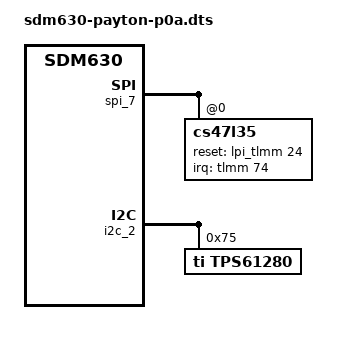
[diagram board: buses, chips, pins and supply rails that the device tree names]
/* Copyright (c) 2017, The Linux Foundation. All rights reserved.
 *
 * This program is free software; you can redistribute it and/or modify
 * it under the terms of the GNU General Public License version 2 and
 * only version 2 as published by the Free Software Foundation.
 *
 * This program is distributed in the hope that it will be useful,
 * but WITHOUT ANY WARRANTY; without even the implied warranty of
 * MERCHANTABILITY or FITNESS FOR A PARTICULAR PURPOSE.  See the
 * GNU General Public License for more details.
 */


/dts-v1/;

#include "sdm630.dtsi"
#include "sdm630-payton.dtsi"

/ {
	qcom,board-id = <0x41 0x80A0>;
};
/* workaround, GPIO2 used as codec interrupt pin in this revison, to be revised
 * in the next hardware version because LPI interrupt cannot receive by AP
 * the below audio related item should only be used in this p0a device tree
 */
&lpi_tlmm {
	lpi_marley_irq_default: marley_irq_default {
		config {
			pins = "gpio22";
			drive-strength = <2>;
			input-enable;
			bias-pull-up;
		};
	};

	lpi_marley_reset_default: marley_reset_default {
		config {
			pins = "gpio24";
			output-high;
			bias-pull-up;
			drive-strength = <2>;
		};
	};
};

&spi_7 {
	cs47l35: cs47l35@0 {
		interrupt-parent = <&tlmm>;
		interrupts = <74 0>;
		reset-gpios = <&lpi_tlmm 24 0>;
		pinctrl-0 = <&lpi_marley_irq_default &lpi_marley_reset_default>;

		cirrus,gpio-defaults = <
			0x00002000 0x0000f000 /* AIF3TXDAT / GPIO1  */
			0x00003003 0x00007000 /* IRQ1	   / GPIO2  */
			0x00000040 0x00000000 /* AIF3RXDAT / GPIO3  */
			0x00002000 0x0000f000 /* AIF3LRCLK / GPIO4  */
			0xffffffff 0xffffffff /* GPIO5 */
			0xffffffff 0xffffffff /* GPIO6 */
			0x00002000 0x0000f000 /* MIF1SDA   / GPIO7  */
			0x00002000 0x0000f000 /* AIF1RXDAT / GPIO8  */
			0x00002000 0x0000f000 /* AIF1BCLK  / GPIO9  */
			0x00002000 0x0000f000 /* AIF1TXDAT / GPIO10 */
			0x00002000 0x0000f000 /* AIF1LRCLK / GPIO11 */
			0x00002000 0x0000f000 /* AIF2TXDAT / GPIO12 */
			0x00002000 0x0000f000 /* AIF2BCLK  / GPIO13 */
			0xffffffff 0xffffffff /* AIF2RXDAT / GPIO14 */
			0xffffffff 0xffffffff /* AIF2LRCLK / GPIO15 */
			0x00002000 0x0000f000 /* MIF1SCLK  / GPIO16 */
			>;
	};
};

&i2c_2 { /* BLSP1 CAP SENSOR */
	status = "okay";
	tps61280@75 {
		compatible = "ti,tps61280";
		reg = <0x75>;
		ti,config = <0x0D>;
		ti,vout-floor = <0x0D>;
		ti,vout-roof = <0x19>;
		ti,ilim = <0x0F>;
		pinctrl-names = "default";
		pinctrl-0 = <&tps61280_en_default>;
	};
};

&cs47l35 {
	cirrus,accdet {
		acc@1 {
			/delete-property/ cirrus,jd-check-jd2;
			cirrus,micd-clamp-mode = <0x4>;
		};
	};
};

